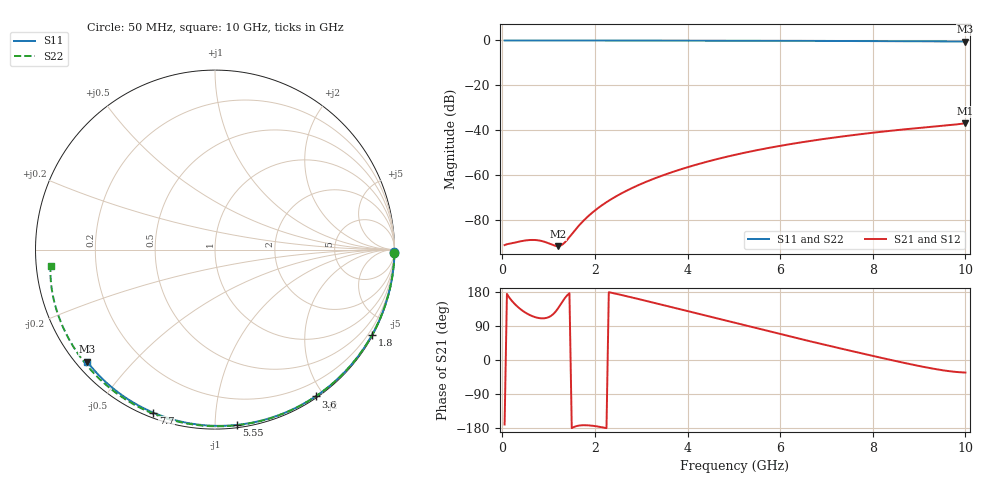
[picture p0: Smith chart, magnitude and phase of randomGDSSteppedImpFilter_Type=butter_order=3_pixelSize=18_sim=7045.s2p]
! freq	dB(S11)	phase(S11)	dB(S12)	phase(S12)
!  dB(S21)	phase(S21)	dB(S22)	phase(S22)
!S-par simulation data
#  GHz  S  DB  R 50
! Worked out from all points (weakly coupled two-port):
!   200 points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, 50 MHz to 10 GHz, reference 50 ohm
!   highest |S21| = -36.84 dB at 10 GHz (marker M1); lowest = -91.4 dB at 1.2 GHz (marker M2)
!   lowest |S11| = -0.5 dB at 10 GHz (marker M3), VSWR 36.85, Z = 1.55 - j18.8 ohm
!   |S11| at or under -10 dB: nowhere
!   |S22| runs from -0.7 to 0.0 dB; largest |S21 - S12| = 0
!   S11 on the Smith chart (normalised r, x): 50 MHz: open; 1.8 GHz: 0.03, -3.94; 3.6 GHz: 0.02, -1.90; 5.55 GHz: 0.02, -1.13; 7.7 GHz: 0.02, -0.69; 10 GHz: 0.03, -0.38
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0.05  -0.00 -0.8  -90.95 -170.2  -90.95 -170.2  -0.00 -1.0
0.6  -0.01 -9.6  -88.69 118.3  -88.69 118.3  -0.01 -11.6
1.2  -0.02 -19.1  -91.43 135.7  -91.43 135.7  -0.03 -23.0
1.75  -0.04 -27.7  -80.18 -172.1  -80.18 -172.1  -0.04 -33.4
1.8  -0.04 -28.5  -79.17 -172.1  -79.17 -172.1  -0.04 -34.3
1.95  -0.04 -30.8  -76.41 -173.5  -76.41 -173.5  -0.05 -37.1
2.1  -0.04 -33.1  -74.01 -176.3  -74.01 -176.3  -0.05 -39.8
2.45  -0.05 -38.4  -69.36 175.0  -69.36 175.0  -0.06 -46.2
2.9  -0.06 -45.2  -64.66 162.1  -64.66 162.1  -0.07 -54.3
3.4  -0.07 -52.7  -60.46 147.2  -60.46 147.2  -0.08 -63.1
3.6  -0.07 -55.6  -59.00 141.2  -59.00 141.2  -0.09 -66.6
4.3  -0.09 -65.6  -54.56 120.0  -54.56 120.0  -0.11 -78.5
5.05  -0.12 -76.1  -50.72 97.1  -50.72 97.1  -0.14 -90.8
5.55  -0.14 -82.9  -48.56 82.0  -48.56 82.0  -0.16 -98.8
6.1  -0.16 -90.2  -46.48 65.5  -46.48 65.5  -0.19 -107.5
6.7  -0.19 -98.0  -44.51 47.8  -44.51 47.8  -0.23 -116.8
7.7  -0.25 -110.7  -41.74 19.2  -41.74 19.2  -0.30 -132.2
8.35  -0.30 -118.7  -40.22 1.2  -40.22 1.2  -0.36 -142.3
8.9  -0.35 -125.4  -39.08 -13.3  -39.08 -13.3  -0.43 -151.3
9.35  -0.40 -130.9  -38.22 -23.9  -38.22 -23.9  -0.49 -159.3
9.7  -0.44 -135.1  -37.54 -30.2  -37.54 -30.2  -0.58 -166.5
10  -0.47 -138.7  -36.84 -33.1  -36.84 -33.1  -0.72 -174.3
